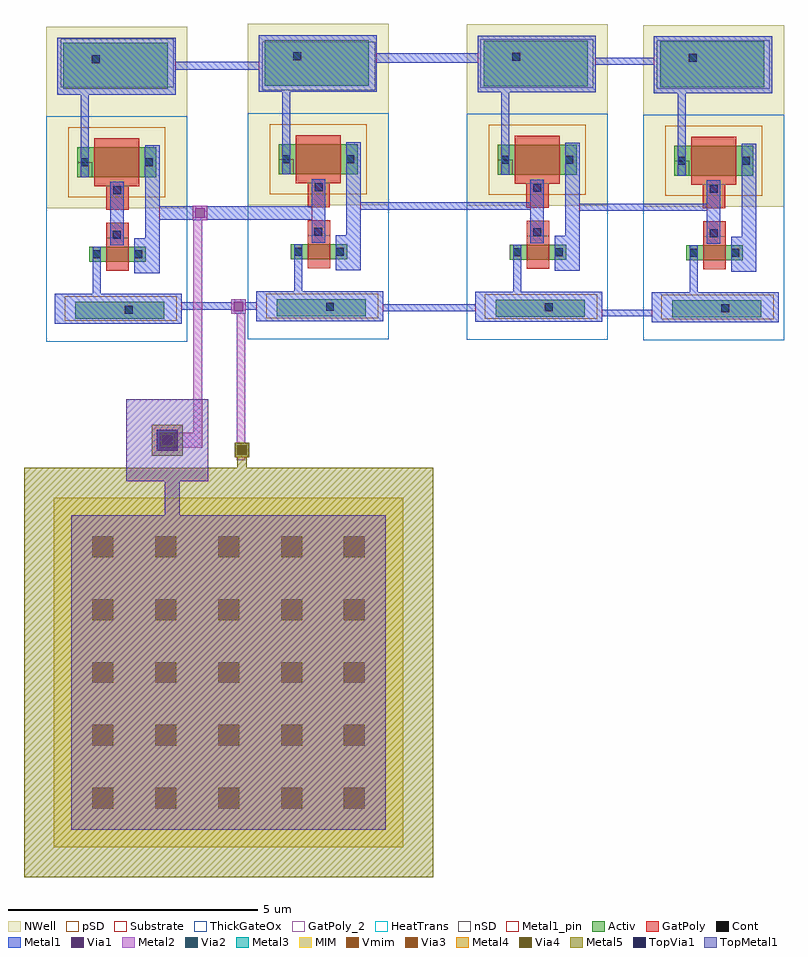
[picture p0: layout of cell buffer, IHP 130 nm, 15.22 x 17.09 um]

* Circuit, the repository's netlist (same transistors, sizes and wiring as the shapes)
* Extracted by KLayout with SG13G2 LVS runset on : 12/03/2026 08:12

.SUBCKT buffer IN|OUT GND IN|OUT$1 IN|OUT$2 OUT IN VDD
M$1 GND IN IN|OUT GND sg13_hv_nmos L=0.45u W=0.3u AS=0.102p AD=0.102p PS=1.28u
+ PD=1.28u
M$2 GND IN|OUT$2 OUT GND sg13_hv_nmos L=0.45u W=0.3u AS=0.102p AD=0.102p
+ PS=1.28u PD=1.28u
M$3 GND IN|OUT$1 IN|OUT$2 GND sg13_hv_nmos L=0.45u W=0.3u AS=0.102p AD=0.102p
+ PS=1.28u PD=1.28u
M$4 GND IN|OUT IN|OUT$1 GND sg13_hv_nmos L=0.45u W=0.3u AS=0.102p AD=0.102p
+ PS=1.28u PD=1.28u
M$5 VDD IN IN|OUT VDD sg13_hv_pmos L=0.9u W=0.6u AS=0.204p AD=0.204p PS=1.88u
+ PD=1.88u
M$6 VDD IN|OUT$2 OUT VDD sg13_hv_pmos L=0.9u W=0.6u AS=0.204p AD=0.204p
+ PS=1.88u PD=1.88u
M$7 VDD IN|OUT$1 IN|OUT$2 VDD sg13_hv_pmos L=0.9u W=0.6u AS=0.204p AD=0.204p
+ PS=1.88u PD=1.88u
M$8 VDD IN|OUT IN|OUT$1 VDD sg13_hv_pmos L=0.9u W=0.6u AS=0.204p AD=0.204p
+ PS=1.88u PD=1.88u
C$9 IN|OUT GND cap_cmim w=7u l=7u A=49p P=28u m=1
.ENDS buffer

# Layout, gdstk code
from math import pi, radians
import gdstk
lib = gdstk.Library(unit=1e-6, precision=1e-09)
def R(c, l, rs):  # rectangles x0, y0, x1, y1
    for r in rs: c.add(gdstk.rectangle(r[:2], r[2:], *l))
def A(c, l, x, y, w, h, nx, ny, dx, dy):  # array of equal rectangles
    R(c, l, [(x+i*dx, y+j*dy, x+i*dx+w, y+j*dy+h) for i in range(nx) for j in range(ny)])
def P(c, l, *ps):  # polygons
    for p in ps: c.add(gdstk.Polygon(p, *l))
Activ = (1, 0)
GatPoly = (5, 0)
GatPoly_2 = (5, 2)
Cont = (6, 0)
nSD = (7, 0)
Metal1 = (8, 0)
Metal1_pin = (8, 2)
Metal2 = (10, 0)
pSD = (14, 0)
Via1 = (19, 0)
Via2 = (29, 0)
Metal3 = (30, 0)
NWell = (31, 0)
MIM = (36, 0)
Substrate = (40, 0)
ThickGateOx = (44, 0)
Via3 = (49, 0)
Metal4 = (50, 0)
HeatTrans = (51, 0)
Via4 = (66, 0)
Metal5 = (67, 0)
TopVia1 = (125, 0)
TopMetal1 = (126, 0)
Vmim = (129, 0)

pmoshv = lib.new_cell('pmosHV')
R(pmoshv, Activ, [(-4.055,1.495,-2.475,2.095), (-4.055,1.495,-3.755,1.795), (-2.775,1.495,-2.475,1.795)])
R(pmoshv, GatPoly, [(-3.715,1.315,-2.815,2.275)])
R(pmoshv, GatPoly_2, [(-3.715,1.315,-2.815,2.275)])
R(pmoshv, Cont, [(-3.985,1.715,-3.825,1.875), (-2.705,1.715,-2.545,1.875)])
R(pmoshv, Metal1, [(-3.985,1.495,-3.825,2.095), (-2.705,1.495,-2.545,2.095)])
R(pmoshv, Metal1_pin, [(-3.985,1.495,-3.825,2.095), (-2.705,1.495,-2.545,2.095)])
R(pmoshv, pSD, [(-4.235,1.095,-2.295,2.495)])
R(pmoshv, NWell, [(-4.675,0.875,-1.855,2.715)])
R(pmoshv, Substrate, [(-4.055,1.495,-3.755,1.795)])
R(pmoshv, ThickGateOx, [(-4.675,0.875,-1.855,2.715)])
R(pmoshv, HeatTrans, [(-3.715,1.315,-2.815,2.275)])
pmoshv.add(gdstk.Label('pmosHV', (-3.265,1.795), layer=63, texttype=0))
pmoshv.add(gdstk.Label('pmos', (-3.265,1.795), layer=51, texttype=0))

nmoshv = lib.new_cell('nmosHV')
R(nmoshv, Activ, [(4.025,1.495,5.155,1.795), (4.025,1.495,4.325,1.795), (4.855,1.495,5.155,1.795)])
R(nmoshv, GatPoly, [(4.365,1.315,4.815,1.975)])
R(nmoshv, GatPoly_2, [(4.365,1.315,4.815,1.975)])
R(nmoshv, Cont, [(4.095,1.565,4.255,1.725), (4.925,1.565,5.085,1.725)])
R(nmoshv, Metal1, [(4.095,1.495,4.255,1.795), (4.925,1.495,5.085,1.795)])
R(nmoshv, Metal1_pin, [(4.095,1.495,4.255,1.795), (4.925,1.495,5.085,1.795)])
R(nmoshv, ThickGateOx, [(3.755,0.975,5.425,2.315)])
R(nmoshv, HeatTrans, [(4.365,1.315,4.815,1.975)])
nmoshv.add(gdstk.Label('nmosHV', (4.59,1.645), layer=63, texttype=0))
nmoshv.add(gdstk.Label('nmosHV', (4.59,1.645), layer=51, texttype=0))

inverter = lib.new_cell('inverter')
R(inverter, Activ, [(-3.19,0.935,-1.41,1.275), (-3.43,5.545,-1.345,6.465)])
R(inverter, GatPoly, [(-2.57,2.555,-2.12,2.86), (-2.575,3.12,-2.125,3.65), (-2.525,3.28,-2.165,3.595)])
R(inverter, Cont, [(-2.205,1.04,-2.045,1.2), (-2.44,2.54,-2.28,2.7), (-2.435,3.435,-2.275,3.595), (-2.86,6.06,-2.7,6.22)])
R(inverter, nSD, [(0.555,5.515,2.815,6.49)])
R(inverter, Metal1, [(-2.495,2.405,-2.225,3.68)])
P(inverter, Metal1, [(-3.08,3.775),(-3.08,5.425),(-3.555,5.425),(-3.555,6.565),(-1.185,6.565),(-1.185,5.425),(-2.92,5.425),(-2.92,3.775)],
  [(-3.6,0.835),(-3.6,1.435),(-2.84,1.435),(-2.84,2.375),(-2.68,2.375),(-2.68,1.435),(-1.06,1.435),(-1.06,0.835)],
  [(-2.01,1.85),(-2.01,2.55),(-1.795,2.55),(-1.795,4.415),(-1.505,4.415),(-1.505,1.85)])
R(inverter, Metal1_pin, [(-2.495,2.405,-2.225,3.68)])
P(inverter, Metal1_pin, [(-3.6,0.835),(-3.6,1.435),(-2.84,1.435),(-2.84,2.375),(-2.68,2.375),(-2.68,1.435),(-1.06,1.435),(-1.06,0.835)],
  [(-3.08,3.775),(-3.08,5.425),(-3.555,5.425),(-3.555,6.565),(-1.185,6.565),(-1.185,5.425),(-2.92,5.425),(-2.92,3.775)],
  [(-2.01,1.85),(-2.01,2.55),(-1.795,2.55),(-1.795,4.415),(-1.505,4.415),(-1.505,1.85)])
R(inverter, pSD, [(-3.405,0.895,-1.155,1.385)])
R(inverter, NWell, [(-3.77,4.995,-0.95,6.79)])
R(inverter, ThickGateOx, [(-3.77,0.475,-0.95,3.155)])
inverter.add(gdstk.Reference(pmoshv, (0.905,2.28)))
inverter.add(gdstk.Reference(nmoshv, (2.245,0.58), rotation=pi, x_reflection=True))
inverter.add(gdstk.Label('VDD', (-2.265,6.035), layer=8, texttype=25))
inverter.add(gdstk.Label('IN', (-2.34,2.95), layer=8, texttype=25))
inverter.add(gdstk.Label('GND', (-2.325,1.195), layer=8, texttype=25))

pmoshv_1 = lib.new_cell('pmosHV$1')
R(pmoshv_1, Activ, [(4.015,1.495,5.595,2.095), (4.015,1.495,4.315,1.795), (5.295,1.495,5.595,1.795)])
R(pmoshv_1, GatPoly, [(4.355,1.315,5.255,2.275)])
R(pmoshv_1, GatPoly_2, [(4.355,1.315,5.255,2.275)])
R(pmoshv_1, Cont, [(4.085,1.715,4.245,1.875), (5.365,1.715,5.525,1.875)])
R(pmoshv_1, Metal1, [(4.085,1.495,4.245,2.095), (5.365,1.495,5.525,2.095)])
R(pmoshv_1, Metal1_pin, [(4.085,1.495,4.245,2.095), (5.365,1.495,5.525,2.095)])
R(pmoshv_1, pSD, [(3.835,1.095,5.775,2.495)])
R(pmoshv_1, NWell, [(3.395,0.875,6.215,2.715)])
R(pmoshv_1, Substrate, [(4.015,1.495,4.315,1.795)])
R(pmoshv_1, ThickGateOx, [(3.395,0.875,6.215,2.715)])
R(pmoshv_1, HeatTrans, [(4.355,1.315,5.255,2.275)])
pmoshv_1.add(gdstk.Label('pmosHV', (4.805,1.795), layer=63, texttype=0))
pmoshv_1.add(gdstk.Label('pmos', (4.805,1.795), layer=51, texttype=0))

nmoshv_1 = lib.new_cell('nmosHV$1')
R(nmoshv_1, Activ, [(-4.045,1.495,-2.915,1.795), (-4.045,1.495,-3.745,1.795), (-3.215,1.495,-2.915,1.795)])
R(nmoshv_1, GatPoly, [(-3.705,1.315,-3.255,1.975)])
R(nmoshv_1, GatPoly_2, [(-3.705,1.315,-3.255,1.975)])
R(nmoshv_1, Cont, [(-3.975,1.565,-3.815,1.725), (-3.145,1.565,-2.985,1.725)])
R(nmoshv_1, Metal1, [(-3.975,1.495,-3.815,1.795), (-3.145,1.495,-2.985,1.795)])
R(nmoshv_1, Metal1_pin, [(-3.975,1.495,-3.815,1.795), (-3.145,1.495,-2.985,1.795)])
R(nmoshv_1, ThickGateOx, [(-4.315,0.975,-2.645,2.315)])
R(nmoshv_1, HeatTrans, [(-3.705,1.315,-3.255,1.975)])
nmoshv_1.add(gdstk.Label('nmosHV', (-3.48,1.645), layer=63, texttype=0))
nmoshv_1.add(gdstk.Label('nmosHV', (-3.48,1.645), layer=51, texttype=0))

inverter_1 = lib.new_cell('inverter$1')
R(inverter_1, Activ, [(4.88,0.935,6.66,1.275), (4.64,5.545,6.725,6.465)])
R(inverter_1, GatPoly, [(5.5,2.555,5.95,2.86), (5.495,3.12,5.945,3.65), (5.545,3.28,5.905,3.595)])
R(inverter_1, Cont, [(5.865,1.04,6.025,1.2), (5.63,2.54,5.79,2.7), (5.635,3.435,5.795,3.595), (5.21,6.06,5.37,6.22)])
R(inverter_1, nSD, [(0.555,5.515,2.815,6.49)])
R(inverter_1, Metal1, [(5.575,2.405,5.845,3.68)])
P(inverter_1, Metal1, [(4.99,3.775),(4.99,5.425),(4.515,5.425),(4.515,6.565),(6.885,6.565),(6.885,5.425),(5.15,5.425),(5.15,3.775)],
  [(4.47,0.835),(4.47,1.435),(5.23,1.435),(5.23,2.375),(5.39,2.375),(5.39,1.435),(7.01,1.435),(7.01,0.835)],
  [(6.06,1.85),(6.06,2.55),(6.275,2.55),(6.275,4.415),(6.565,4.415),(6.565,1.85)])
R(inverter_1, Metal1_pin, [(5.575,2.405,5.845,3.68)])
P(inverter_1, Metal1_pin, [(4.47,0.835),(4.47,1.435),(5.23,1.435),(5.23,2.375),(5.39,2.375),(5.39,1.435),(7.01,1.435),(7.01,0.835)],
  [(4.99,3.775),(4.99,5.425),(4.515,5.425),(4.515,6.565),(6.885,6.565),(6.885,5.425),(5.15,5.425),(5.15,3.775)],
  [(6.06,1.85),(6.06,2.55),(6.275,2.55),(6.275,4.415),(6.565,4.415),(6.565,1.85)])
R(inverter_1, pSD, [(4.665,0.895,6.915,1.385)])
R(inverter_1, NWell, [(4.3,4.995,7.12,6.79)])
R(inverter_1, ThickGateOx, [(4.3,0.475,7.12,3.155)])
inverter_1.add(gdstk.Reference(pmoshv_1, (0.905,2.28)))
inverter_1.add(gdstk.Reference(nmoshv_1, (2.245,0.58), rotation=pi, x_reflection=True))

pmoshv_3 = lib.new_cell('pmosHV$3')
R(pmoshv_3, Activ, [(-3.585,1.725,-2.005,2.325), (-3.585,1.725,-3.285,2.025), (-2.305,1.725,-2.005,2.025)])
R(pmoshv_3, GatPoly, [(-3.245,1.545,-2.345,2.505)])
R(pmoshv_3, GatPoly_2, [(-3.245,1.545,-2.345,2.505)])
R(pmoshv_3, Cont, [(-3.515,1.945,-3.355,2.105), (-2.235,1.945,-2.075,2.105)])
R(pmoshv_3, Metal1, [(-3.515,1.725,-3.355,2.325), (-2.235,1.725,-2.075,2.325)])
R(pmoshv_3, Metal1_pin, [(-3.515,1.725,-3.355,2.325), (-2.235,1.725,-2.075,2.325)])
R(pmoshv_3, pSD, [(-3.765,1.325,-1.825,2.725)])
R(pmoshv_3, NWell, [(-4.205,1.105,-1.385,2.945)])
R(pmoshv_3, Substrate, [(-3.585,1.725,-3.285,2.025)])
R(pmoshv_3, ThickGateOx, [(-4.205,1.105,-1.385,2.945)])
R(pmoshv_3, HeatTrans, [(-3.245,1.545,-2.345,2.505)])
pmoshv_3.add(gdstk.Label('pmosHV', (-2.795,2.025), layer=63, texttype=0))
pmoshv_3.add(gdstk.Label('pmos', (-2.795,2.025), layer=51, texttype=0))

nmoshv_3 = lib.new_cell('nmosHV$3')
R(nmoshv_3, Activ, [(3.555,1.725,4.685,2.025), (3.555,1.725,3.855,2.025), (4.385,1.725,4.685,2.025)])
R(nmoshv_3, GatPoly, [(3.895,1.545,4.345,2.205)])
R(nmoshv_3, GatPoly_2, [(3.895,1.545,4.345,2.205)])
R(nmoshv_3, Cont, [(3.625,1.795,3.785,1.955), (4.455,1.795,4.615,1.955)])
R(nmoshv_3, Metal1, [(3.625,1.725,3.785,2.025), (4.455,1.725,4.615,2.025)])
R(nmoshv_3, Metal1_pin, [(3.625,1.725,3.785,2.025), (4.455,1.725,4.615,2.025)])
R(nmoshv_3, ThickGateOx, [(3.285,1.205,4.955,2.545)])
R(nmoshv_3, HeatTrans, [(3.895,1.545,4.345,2.205)])
nmoshv_3.add(gdstk.Label('nmosHV', (4.12,1.875), layer=63, texttype=0))
nmoshv_3.add(gdstk.Label('nmosHV', (4.12,1.875), layer=51, texttype=0))

inverter_3 = lib.new_cell('inverter$3')
R(inverter_3, Activ, [(-2.72,1.165,-0.94,1.505), (-2.96,5.775,-0.875,6.695)])
R(inverter_3, GatPoly, [(-2.1,2.785,-1.65,3.09), (-2.105,3.35,-1.655,3.88), (-2.055,3.51,-1.695,3.825)])
R(inverter_3, Cont, [(-1.735,1.27,-1.575,1.43), (-1.97,2.77,-1.81,2.93), (-1.965,3.665,-1.805,3.825), (-2.39,6.29,-2.23,6.45)])
R(inverter_3, nSD, [(-3.03,5.745,-0.77,6.72)])
R(inverter_3, Metal1, [(-2.025,2.635,-1.755,3.91)])
P(inverter_3, Metal1, [(-2.61,4.005),(-2.61,5.655),(-3.085,5.655),(-3.085,6.795),(-0.715,6.795),(-0.715,5.655),(-2.45,5.655),(-2.45,4.005)],
  [(-3.13,1.065),(-3.13,1.665),(-2.37,1.665),(-2.37,2.605),(-2.21,2.605),(-2.21,1.665),(-0.59,1.665),(-0.59,1.065)],
  [(-1.54,2.08),(-1.54,2.78),(-1.325,2.78),(-1.325,4.645),(-1.035,4.645),(-1.035,2.08)])
R(inverter_3, Metal1_pin, [(-2.025,2.635,-1.755,3.91)])
P(inverter_3, Metal1_pin, [(-3.13,1.065),(-3.13,1.665),(-2.37,1.665),(-2.37,2.605),(-2.21,2.605),(-2.21,1.665),(-0.59,1.665),(-0.59,1.065)],
  [(-2.61,4.005),(-2.61,5.655),(-3.085,5.655),(-3.085,6.795),(-0.715,6.795),(-0.715,5.655),(-2.45,5.655),(-2.45,4.005)],
  [(-1.54,2.08),(-1.54,2.78),(-1.325,2.78),(-1.325,4.645),(-1.035,4.645),(-1.035,2.08)])
R(inverter_3, pSD, [(-2.935,1.125,-0.685,1.615)])
R(inverter_3, NWell, [(-3.3,5.225,-0.48,7.02)])
R(inverter_3, ThickGateOx, [(-3.3,0.705,-0.48,3.385)])
inverter_3.add(gdstk.Reference(pmoshv_3, (0.905,2.28)))
inverter_3.add(gdstk.Reference(nmoshv_3, (2.245,0.58), rotation=pi, x_reflection=True))
inverter_3.add(gdstk.Label('OUT', (-1.11,3.195), layer=8, texttype=25))

pmoshv_2 = lib.new_cell('pmosHV$2')
R(pmoshv_2, Activ, [(3.46,1.665,5.04,2.265), (3.46,1.665,3.76,1.965), (4.74,1.665,5.04,1.965)])
R(pmoshv_2, GatPoly, [(3.8,1.485,4.7,2.445)])
R(pmoshv_2, GatPoly_2, [(3.8,1.485,4.7,2.445)])
R(pmoshv_2, Cont, [(3.53,1.885,3.69,2.045), (4.81,1.885,4.97,2.045)])
R(pmoshv_2, Metal1, [(3.53,1.665,3.69,2.265), (4.81,1.665,4.97,2.265)])
R(pmoshv_2, Metal1_pin, [(3.53,1.665,3.69,2.265), (4.81,1.665,4.97,2.265)])
R(pmoshv_2, pSD, [(3.28,1.265,5.22,2.665)])
R(pmoshv_2, NWell, [(2.84,1.045,5.66,2.885)])
R(pmoshv_2, Substrate, [(3.46,1.665,3.76,1.965)])
R(pmoshv_2, ThickGateOx, [(2.84,1.045,5.66,2.885)])
R(pmoshv_2, HeatTrans, [(3.8,1.485,4.7,2.445)])
pmoshv_2.add(gdstk.Label('pmosHV', (4.25,1.965), layer=63, texttype=0))
pmoshv_2.add(gdstk.Label('pmos', (4.25,1.965), layer=51, texttype=0))

nmoshv_2 = lib.new_cell('nmosHV$2')
R(nmoshv_2, Activ, [(-3.49,1.665,-2.36,1.965), (-3.49,1.665,-3.19,1.965), (-2.66,1.665,-2.36,1.965)])
R(nmoshv_2, GatPoly, [(-3.15,1.485,-2.7,2.145)])
R(nmoshv_2, GatPoly_2, [(-3.15,1.485,-2.7,2.145)])
R(nmoshv_2, Cont, [(-3.42,1.735,-3.26,1.895), (-2.59,1.735,-2.43,1.895)])
R(nmoshv_2, Metal1, [(-3.42,1.665,-3.26,1.965), (-2.59,1.665,-2.43,1.965)])
R(nmoshv_2, Metal1_pin, [(-3.42,1.665,-3.26,1.965), (-2.59,1.665,-2.43,1.965)])
R(nmoshv_2, ThickGateOx, [(-3.76,1.145,-2.09,2.485)])
R(nmoshv_2, HeatTrans, [(-3.15,1.485,-2.7,2.145)])
nmoshv_2.add(gdstk.Label('nmosHV', (-2.925,1.815), layer=63, texttype=0))
nmoshv_2.add(gdstk.Label('nmosHV', (-2.925,1.815), layer=51, texttype=0))

inverter_2 = lib.new_cell('inverter$2')
R(inverter_2, Activ, [(4.325,1.105,6.105,1.445), (4.085,5.715,6.17,6.635)])
R(inverter_2, GatPoly, [(4.945,2.725,5.395,3.03), (4.94,3.29,5.39,3.82), (4.99,3.45,5.35,3.765)])
R(inverter_2, Cont, [(5.31,1.21,5.47,1.37), (5.075,2.71,5.235,2.87), (5.08,3.605,5.24,3.765), (4.655,6.23,4.815,6.39)])
R(inverter_2, nSD, [(4.015,5.685,6.275,6.66)])
R(inverter_2, Metal1, [(5.02,2.575,5.29,3.85)])
P(inverter_2, Metal1, [(4.435,3.945),(4.435,5.595),(3.96,5.595),(3.96,6.735),(6.33,6.735),(6.33,5.595),(4.595,5.595),(4.595,3.945)],
  [(3.915,1.005),(3.915,1.605),(4.675,1.605),(4.675,2.545),(4.835,2.545),(4.835,1.605),(6.455,1.605),(6.455,1.005)],
  [(5.505,2.02),(5.505,2.72),(5.72,2.72),(5.72,4.585),(6.01,4.585),(6.01,2.02)])
R(inverter_2, Metal1_pin, [(5.02,2.575,5.29,3.85)])
P(inverter_2, Metal1_pin, [(3.915,1.005),(3.915,1.605),(4.675,1.605),(4.675,2.545),(4.835,2.545),(4.835,1.605),(6.455,1.605),(6.455,1.005)],
  [(4.435,3.945),(4.435,5.595),(3.96,5.595),(3.96,6.735),(6.33,6.735),(6.33,5.595),(4.595,5.595),(4.595,3.945)],
  [(5.505,2.02),(5.505,2.72),(5.72,2.72),(5.72,4.585),(6.01,4.585),(6.01,2.02)])
R(inverter_2, pSD, [(4.11,1.065,6.36,1.555)])
R(inverter_2, NWell, [(3.745,5.165,6.565,6.96)])
R(inverter_2, ThickGateOx, [(3.745,0.645,6.565,3.325)])
inverter_2.add(gdstk.Reference(pmoshv_2, (0.905,2.28)))
inverter_2.add(gdstk.Reference(nmoshv_2, (2.245,0.58), rotation=pi, x_reflection=True))
inverter_2.add(gdstk.Label('OUT', (5.935,3.135), layer=8, texttype=25))

cmim_1 = lib.new_cell('cmim$1')
R(cmim_1, MIM, [(0,0,7,7)])
R(cmim_1, Metal5, [(-0.6,-0.6,7.6,7.6)])
R(cmim_1, TopMetal1, [(0.35,0.35,6.65,6.65)])
A(cmim_1, Vmim, 0.77, 0.77, 0.42, 0.42, 5, 5, 1.26, 1.26)

via_stack_2 = lib.new_cell('via_stack$2')
R(via_stack_2, Metal2, [(-0.145,-0.145,0.145,0.145)])
R(via_stack_2, Via2, [(-0.095,-0.095,0.095,0.095)])
R(via_stack_2, Metal3, [(-0.145,-0.145,0.145,0.145)])
R(via_stack_2, Via3, [(-0.095,-0.095,0.095,0.095)])
R(via_stack_2, Metal4, [(-0.145,-0.145,0.145,0.145)])
R(via_stack_2, Via4, [(-0.095,-0.095,0.095,0.095)])
R(via_stack_2, Metal5, [(-0.31,-0.31,0.31,0.31), (-0.145,-0.145,0.145,0.145)])
R(via_stack_2, TopVia1, [(-0.21,-0.21,0.21,0.21)])
R(via_stack_2, TopMetal1, [(-0.82,-0.82,0.82,0.82)])

via_stack = lib.new_cell('via_stack')
R(via_stack, Metal2, [(-0.145,-0.145,0.145,0.145)])
R(via_stack, Via2, [(-0.095,-0.095,0.095,0.095)])
R(via_stack, Metal3, [(-0.145,-0.145,0.145,0.145)])
R(via_stack, Via3, [(-0.095,-0.095,0.095,0.095)])
R(via_stack, Metal4, [(-0.145,-0.145,0.145,0.145)])
R(via_stack, Via4, [(-0.095,-0.095,0.095,0.095)])
R(via_stack, Metal5, [(-0.145,-0.145,0.145,0.145)])

via_stack_4 = lib.new_cell('via_stack$4')
R(via_stack_4, Metal1, [(-0.145,-0.145,0.145,0.145)])
R(via_stack_4, Metal2, [(-0.145,-0.145,0.145,0.145)])
R(via_stack_4, Via1, [(-0.095,-0.095,0.095,0.095)])

buffer = lib.new_cell('buffer')
R(buffer, Metal1, [(5.995,1.08,7.57,1.21), (2.02,1.185,4.055,1.325), (-2.05,1.215,-0.4,1.36), (-2.56,3.015,0.795,3.285), (5.94,3.195,8.685,3.335), (1.52,3.215,5.21,3.365), (-2.21,6.025,-0.29,6.185), (6.24,6.12,7.555,6.26), (1.7,6.16,4.215,6.35)])
R(buffer, Metal2, [(-0.85,-1.805,-0.685,1.36)])
P(buffer, Metal2, [(-2.39,-1.555),(-2.39,-1.25),(-1.725,-1.25),(-1.725,3.285),(-1.54,3.285),(-1.54,-1.555)])
R(buffer, Metal5, [(-0.845,-3.03,-0.655,-1.51)])
R(buffer, TopMetal1, [(-2.295,-3.41,-1.99,-1.4)])
buffer.add(gdstk.Reference(inverter, (-0.895,0.095)))
buffer.add(gdstk.Reference(inverter_1, (-4.93,0.15)))
buffer.add(gdstk.Reference(inverter_3, (7.055,-0.09)))
buffer.add(gdstk.Reference(inverter_2, (3.545,-0.045)))
buffer.add(gdstk.Reference(cmim_1, (2.485,-9.555), rotation=pi/2))
buffer.add(gdstk.Reference(via_stack_2, (-2.245,-1.4), rotation=pi/2))
buffer.add(gdstk.Reference(via_stack, (-0.75,-1.595), rotation=pi/2))
buffer.add(gdstk.Reference(via_stack_4, (-1.585,3.15), rotation=pi/2))
buffer.add(gdstk.Reference(via_stack_4, (-0.82,1.275), rotation=pi/2))

lib.write_gds('buffer.gds')
